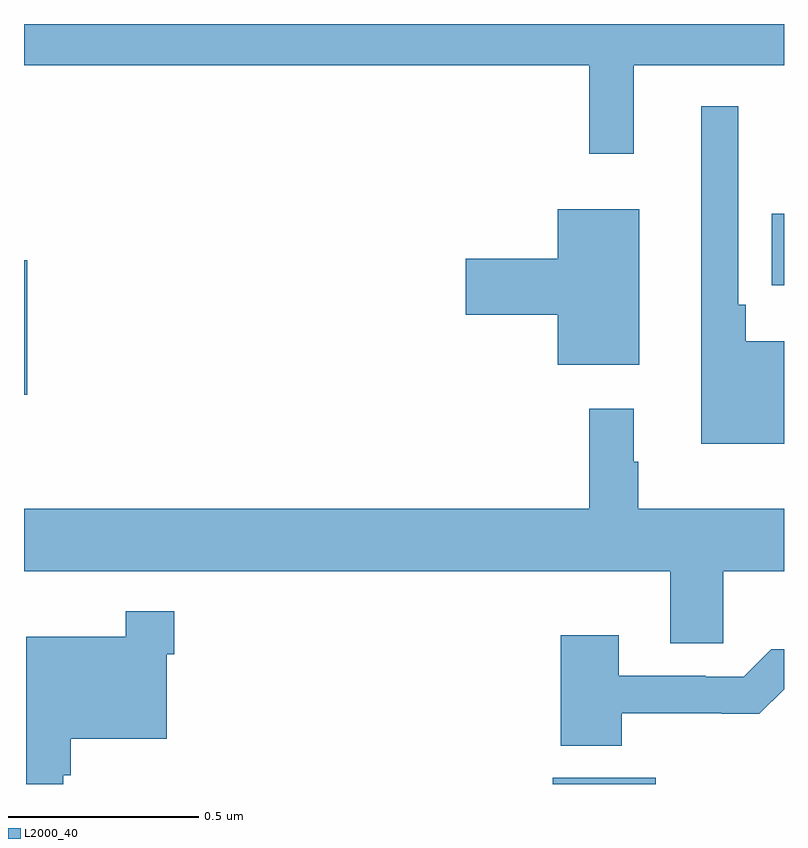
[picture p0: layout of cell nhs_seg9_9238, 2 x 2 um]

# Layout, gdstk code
import gdstk
lib = gdstk.Library(unit=1e-6, precision=1e-09)
def R(c, l, rs):  # rectangles x0, y0, x1, y1
    for r in rs: c.add(gdstk.rectangle(r[:2], r[2:], *l))
def P(c, l, *ps):  # polygons
    for p in ps: c.add(gdstk.Polygon(p, *l))
L2000_40 = (2000, 40)

nhs_seg9_9238 = lib.new_cell('nhs_seg9_9238')
R(nhs_seg9_9238, L2000_40, [(228.392,1222.5,228.662,1222.516), (227,1223.525,227.009,1223.878), (228.968,1223.813,229,1224.001)])
P(nhs_seg9_9238, L2000_40, [(228.605,1224.392),(229,1224.392),(229,1224.5),(227,1224.5),(227,1224.392),(228.487,1224.392),(228.487,1224.159),(228.605,1224.159)],
  [(229,1223.665),(228.899,1223.665),(228.899,1223.761),(228.879,1223.761),(228.879,1224.283),(228.782,1224.283),(228.782,1223.396),(229,1223.396)],
  [(228.619,1224.013),(228.404,1224.013),(228.404,1223.882),(228.162,1223.882),(228.162,1223.735),(228.404,1223.735),(228.404,1223.603),(228.619,1223.603)],
  [(228.84,1223.06),(229,1223.06),(229,1223.224),(228.616,1223.224),(228.616,1223.348),(228.604,1223.348),(228.604,1223.488),(228.487,1223.488),(228.487,1223.224),(227,1223.224),(227,1223.06),(228.701,1223.06),(228.701,1222.87),(228.84,1222.87)],
  [(227.103,1222.523),(227.123,1222.523),(227.123,1222.619),(227.376,1222.619),(227.376,1222.841),(227.396,1222.841),(227.396,1222.954),(227.268,1222.954),(227.268,1222.888),(227.006,1222.888),(227.006,1222.5),(227.103,1222.5)],
  [(228.573,1222.686),(228.836,1222.686),(228.836,1222.685),(228.935,1222.685),(229,1222.75),(229,1222.855),(228.967,1222.855),(228.894,1222.782),(228.794,1222.782),(228.794,1222.785),(228.565,1222.785),(228.565,1222.891),(228.413,1222.891),(228.413,1222.601),(228.573,1222.601)])

lib.write_gds('nhs_seg9_9238.gds')
